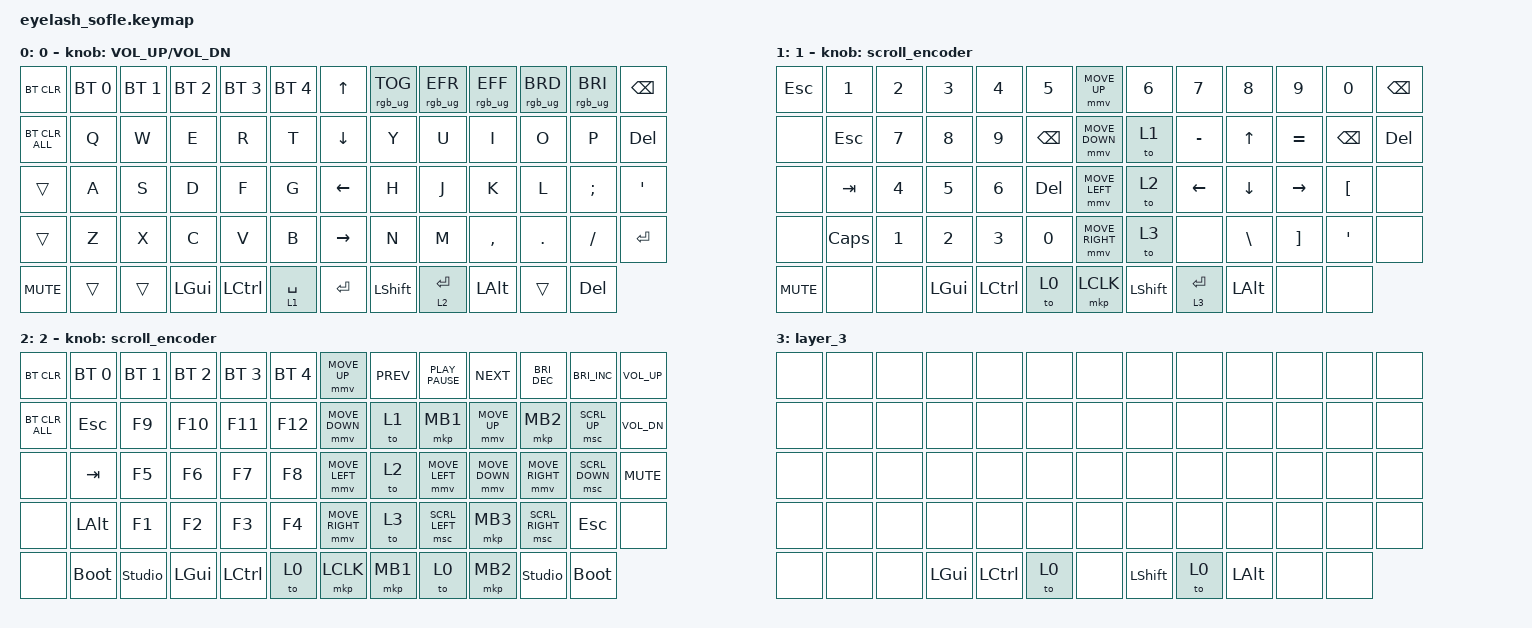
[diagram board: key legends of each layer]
#define ZMK_POINTING_DEFAULT_MOVE_VAL 1200  // 600
#define ZMK_POINTING_DEFAULT_SCRL_VAL 25   // 10

#include <input/processors.dtsi>
#include <zephyr/dt-bindings/input/input-event-codes.h>
#include <behaviors.dtsi>
#include <dt-bindings/zmk/bt.h>
#include <dt-bindings/zmk/keys.h>
#include <dt-bindings/zmk/pointing.h>
#include <dt-bindings/zmk/rgb.h>

&mmv_input_listener { input-processors = <&zip_xy_scaler 2 1>; };

&msc_input_listener { input-processors = <&zip_scroll_scaler 2 1>; };

&msc {
    acceleration-exponent = <1>;      // 0
    time-to-max-speed-ms = <100>;       // 300
    delay-ms = <0>;                   // 0
};

&mmv {
    time-to-max-speed-ms = <500>;
    acceleration-exponent = <1>;
    trigger-period-ms = <16>;
};

&soft_off { hold-time-ms = <2000>; };

/ {
    scroll_encoder: scroll_encoder {
        compatible = "zmk,behavior-sensor-rotate";
        #sensor-binding-cells = <0>;
        bindings = <&msc SCRL_DOWN>, <&msc SCRL_UP>;

        tap-ms = <100>;
    };

    behaviors {
    };

    combos {
        compatible = "zmk,combos";

        softoff {
            bindings = <&soft_off>;
            key-positions = <14 28 40>;
        };
    };

    keymap {
        compatible = "zmk,keymap";

        layer0 {
            bindings = <
&bt BT_CLR      &bt BT_SEL 0  &bt BT_SEL 1  &bt BT_SEL 2  &bt BT_SEL 3  &bt BT_SEL 4    &kp UP_ARROW     &rgb_ug RGB_TOG  &rgb_ug RGB_EFR  &rgb_ug RGB_EFF  &rgb_ug RGB_BRD  &rgb_ug RGB_BRI  &kp BSPC
&bt BT_CLR_ALL  &kp Q         &kp W         &kp E         &kp R         &kp T           &kp DOWN_ARROW   &kp Y            &kp U            &kp I            &kp O            &kp P            &kp DELETE
&trans          &kp A         &kp S         &kp D         &kp F         &kp G           &kp LEFT_ARROW   &kp H            &kp J            &kp K            &kp L            &kp SEMI         &kp APOS
&trans          &kp Z         &kp X         &kp C         &kp V         &kp B           &kp RIGHT_ARROW  &kp N            &kp M            &kp COMMA        &kp DOT          &kp SLASH        &kp ENTER
&kp C_MUTE      &trans        &trans        &kp LGUI      &kp LCTRL     &lt 1 SPACE     &kp RET          &kp LEFT_SHIFT   &lt 2 ENTER      &kp LALT         &trans           &kp DELETE
            >;

            sensor-bindings = <&inc_dec_kp C_VOLUME_UP C_VOL_DN>;
            display-name = "0";
        };

        layer_1 {
            bindings = <
&kp ESC     &kp N1    &kp N2  &kp N3        &kp N4     &kp N5      &mmv MOVE_UP     &kp N6          &kp N7       &kp N8        &kp N9     &kp N0         &kp BSPC
&none       &kp ESC   &kp N7  &kp N8        &kp N9     &kp BSPC    &mmv MOVE_DOWN   &to 1           &kp MINUS    &kp UP        &kp EQUAL  &kp BACKSPACE  &kp DELETE
&none       &kp TAB   &kp N4  &kp N5        &kp N6     &kp DEL     &mmv MOVE_LEFT   &to 2           &kp LEFT     &kp DOWN      &kp RIGHT  &kp LBKT       &none
&none       &kp CAPS  &kp N1  &kp N2        &kp N3     &kp N0      &mmv MOVE_RIGHT  &to 3           &none        &kp BSLH      &kp RBKT   &kp APOS       &none
&kp C_MUTE  &none     &none   &kp LEFT_GUI  &kp LCTRL  &to 0       &mkp LCLK        &kp LEFT_SHIFT  &lt 3 ENTER  &kp LEFT_ALT  &none      &none
            >;

            display-name = "1";
            sensor-bindings = <&scroll_encoder>;
        };

        layer_2 {
            bindings = <
&bt BT_CLR      &bt BT_SEL 0  &bt BT_SEL 1    &bt BT_SEL 2  &bt BT_SEL 3  &bt BT_SEL 4    &mmv MOVE_UP     &kp K_PREV  &kp K_PLAY_PAUSE  &kp K_NEXT      &kp C_BRI_DEC    &kp C_BRI_INC   &kp C_VOL_UP
&bt BT_CLR_ALL  &kp ESC       &kp F9          &kp F10       &kp F11       &kp F12         &mmv MOVE_DOWN   &to 1       &mkp MB1          &mmv MOVE_UP    &mkp MB2         &msc SCRL_UP    &kp C_VOL_DN
&none           &kp TAB       &kp F5          &kp F6        &kp F7        &kp F8          &mmv MOVE_LEFT   &to 2       &mmv MOVE_LEFT    &mmv MOVE_DOWN  &mmv MOVE_RIGHT  &msc SCRL_DOWN  &kp C_MUTE
&none           &kp LALT      &kp F1          &kp F2        &kp F3        &kp F4          &mmv MOVE_RIGHT  &to 3       &msc SCRL_LEFT    &mkp MB3        &msc SCRL_RIGHT  &kp ESCAPE      &none
&none           &bootloader   &studio_unlock  &kp LEFT_GUI  &kp LCTRL     &to 0           &mkp LCLK        &mkp MB1    &to 0             &mkp MB2        &studio_unlock   &bootloader
            >;

            display-name = "2";
            sensor-bindings = <&scroll_encoder>;
        };

        layer_3 {
            bindings = <
&none  &none  &none  &none         &none      &none    &none  &none           &none  &none         &none  &none  &none
&none  &none  &none  &none         &none      &none    &none  &none           &none  &none         &none  &none  &none
&none  &none  &none  &none         &none      &none    &none  &none           &none  &none         &none  &none  &none
&none  &none  &none  &none         &none      &none    &none  &none           &none  &none         &none  &none  &none
&none  &none  &none  &kp LEFT_GUI  &kp LCTRL  &to 0    &none  &kp LEFT_SHIFT  &to 0  &kp LEFT_ALT  &none  &none
            >;
        };
    };
};
